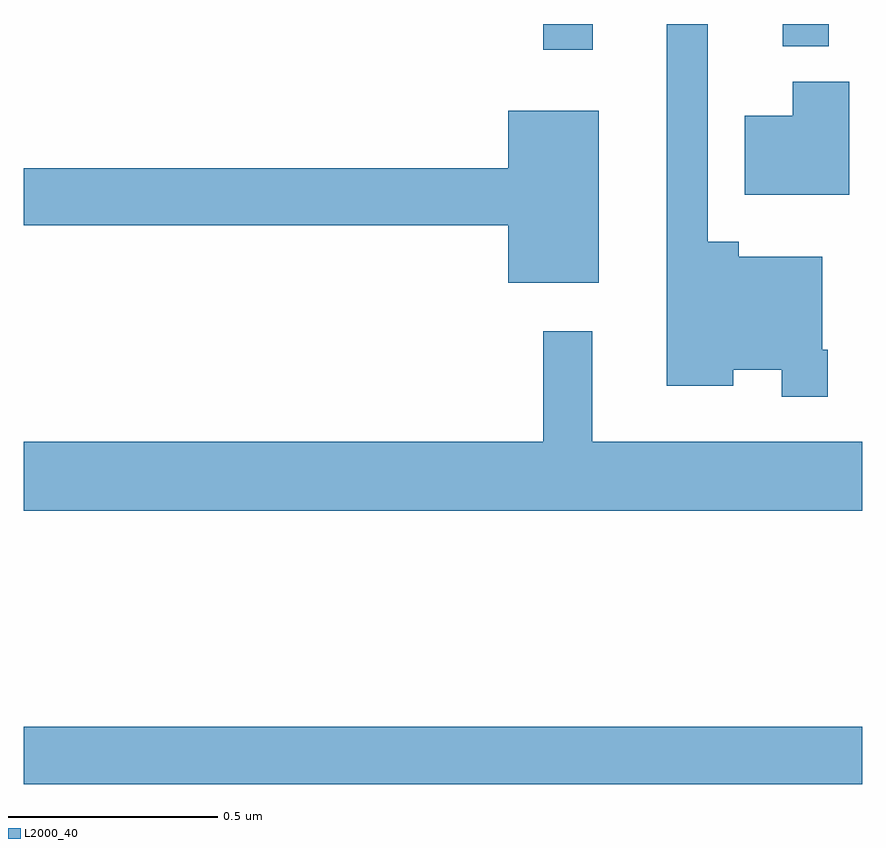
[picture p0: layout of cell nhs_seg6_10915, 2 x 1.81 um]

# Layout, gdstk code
import gdstk
lib = gdstk.Library(unit=1e-6, precision=1e-09)
def R(c, l, rs):  # rectangles x0, y0, x1, y1
    for r in rs: c.add(gdstk.rectangle(r[:2], r[2:], *l))
def P(c, l, *ps):  # polygons
    for p in ps: c.add(gdstk.Polygon(p, *l))
L2000_40 = (2000, 40)

nhs_seg6_10915 = lib.new_cell('nhs_seg6_10915')
R(nhs_seg6_10915, L2000_40, [(253,942.688,255,942.824), (254.239,944.439,254.357,944.5), (254.81,944.447,254.92,944.5)])
P(nhs_seg6_10915, L2000_40, [(254.917,943.723),(254.904,943.723),(254.904,943.945),(254.705,943.945),(254.705,943.981),(254.631,943.981),(254.631,944.5),(254.534,944.5),(254.534,943.637),(254.692,943.637),(254.692,943.676),(254.808,943.676),(254.808,943.611),(254.917,943.611)],
  [(254.969,944.362),(254.834,944.362),(254.834,944.281),(254.72,944.281),(254.72,944.093),(254.969,944.093)],
  [(254.371,944.293),(254.156,944.293),(254.156,944.156),(253,944.156),(253,944.02),(254.156,944.02),(254.156,943.883),(254.371,943.883)],
  [(255,943.504),(254.356,943.504),(254.356,943.768),(254.239,943.768),(254.239,943.504),(253,943.504),(253,943.34),(255,943.34)])

lib.write_gds('nhs_seg6_10915.gds')
